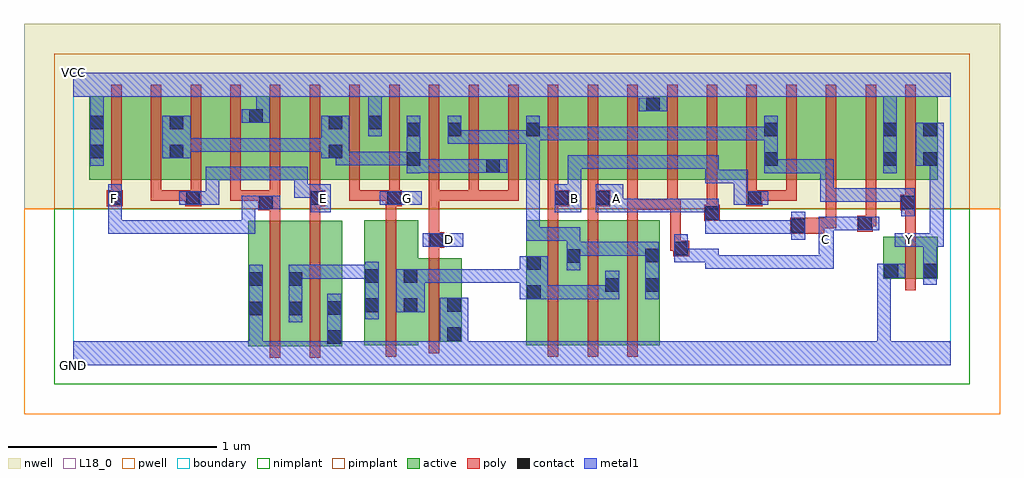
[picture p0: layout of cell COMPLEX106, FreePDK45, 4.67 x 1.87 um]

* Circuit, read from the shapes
.subckt COMPLEX106 A B C D E F G GND VCC Y
M1 n1 F GND VSUBS nfet w=0.6u l=0.05u
M2 GND E n1 VSUBS nfet w=0.6u l=0.05u
M3 n2 G n1 VSUBS nfet w=0.6u l=0.05u
M4 GND D n2 VSUBS nfet w=0.4u l=0.05u
M5 n3 B n2 VSUBS nfet w=0.6u l=0.05u
M6 n2 A n3 VSUBS nfet w=0.6u l=0.05u
M7 n3 C n2 VSUBS nfet w=0.6u l=0.05u
M8 Y n3 GND VSUBS nfet w=0.2u l=0.05u
M9 n4 F VCC n5 pfet w=0.4u l=0.05u
M10 n6 E n4 n5 pfet w=0.4u l=0.05u
M11 n7 E n6 n5 pfet w=0.4u l=0.05u
M12 VCC F n7 n5 pfet w=0.4u l=0.05u
M13 n8 F VCC n5 pfet w=0.4u l=0.05u
M14 n6 E n8 n5 pfet w=0.4u l=0.05u
M15 VCC G n6 n5 pfet w=0.4u l=0.05u m=2
M16 n3 D n6 n5 pfet w=0.4u l=0.05u m=3
M17 n9 B n3 n5 pfet w=0.4u l=0.05u
M18 n10 A n9 n5 pfet w=0.4u l=0.05u
M19 VCC C n10 n5 pfet w=0.4u l=0.05u
M20 n11 C VCC n5 pfet w=0.4u l=0.05u
M21 n12 A n11 n5 pfet w=0.4u l=0.05u
M22 n3 B n12 n5 pfet w=0.4u l=0.05u
M23 n13 B n3 n5 pfet w=0.4u l=0.05u
M24 n14 A n13 n5 pfet w=0.4u l=0.05u
M25 VCC C n14 n5 pfet w=0.4u l=0.05u
M26 Y n3 VCC n5 pfet w=0.4u l=0.05u
.ends

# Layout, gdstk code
import gdstk
lib = gdstk.Library(unit=1e-6, precision=1e-09)
def R(c, l, rs):  # rectangles x0, y0, x1, y1
    for r in rs: c.add(gdstk.rectangle(r[:2], r[2:], *l))
def A(c, l, x, y, w, h, nx, ny, dx, dy):  # array of equal rectangles
    R(c, l, [(x+i*dx, y+j*dy, x+i*dx+w, y+j*dy+h) for i in range(nx) for j in range(ny)])
active = (1, 0)
pwell = (2, 0)
nwell = (3, 0)
nimplant = (4, 0)
pimplant = (5, 0)
poly = (9, 0)
contact = (10, 0)
metal1 = (11, 0)
L18_0 = (18, 0)
boundary = (235, 0)

complex106 = lib.new_cell('COMPLEX106')
A(complex106, active, 0.077, 0.887, 0.225, 0.4, 3, 1, 0.38, 0)
A(complex106, active, 0.302, 0.887, 0.23, 0.4, 3, 1, 0.38, 0)
A(complex106, active, 2.392, 0.887, 0.19, 0.4, 3, 1, 0.57, 0)
R(complex106, active, [(0.837,0.092,0.912,0.692), (0.837,0.092,1.102,0.692), (1.027,0.092,1.287,0.692), (1.212,0.092,1.287,0.692), (1.027,0.095,1.102,0.692), (1.392,0.095,1.467,0.695), (1.392,0.095,1.652,0.695), (2.167,0.095,2.242,0.695), (2.167,0.095,2.432,0.695), (2.357,0.095,2.617,0.695), (2.357,0.095,2.432,0.692), (2.542,0.095,2.807,0.695), (2.542,0.095,2.617,0.577), (2.732,0.095,2.807,0.695), (1.577,0.112,1.86,0.512), (1.785,0.112,1.86,0.492), (1.577,0.2,1.652,0.512), (3.877,0.415,3.952,0.615), (3.877,0.415,4.137,0.615), (4.062,0.415,4.137,0.615), (0.077,0.887,0.152,1.287), (0.457,0.887,0.532,1.2), (1.217,0.887,1.292,1.2), (1.217,0.887,1.482,1.287), (1.407,0.887,1.667,1.287), (1.592,0.887,1.862,1.287), (1.787,0.887,1.862,1.2), (1.787,0.887,2.047,1.287), (1.972,0.887,2.237,1.287), (1.972,0.887,2.047,1.07), (2.162,0.887,2.237,1.2), (2.162,0.887,2.392,1.287), (2.582,0.887,2.812,1.287), (2.737,0.887,2.962,1.287), (2.737,0.887,2.812,1.287), (3.152,0.887,3.377,1.287), (3.302,0.887,3.377,1.2), (3.302,0.887,3.532,1.287), (3.722,0.887,3.947,1.287), (3.872,0.887,4.137,1.287), (4.062,0.887,4.137,1.2), (0.837,0.907,0.912,1.23), (1.407,0.907,1.482,1.267), (1.592,0.907,1.667,1.2), (3.872,0.907,3.947,1.205)])
R(complex106, pwell, [(-0.235,-0.235,4.435,0.75)])
R(complex106, nwell, [(-0.235,0.75,4.435,1.635)])
R(complex106, nimplant, [(-0.09,-0.09,4.29,0.75)])
R(complex106, pimplant, [(-0.09,0.75,4.29,1.49)])
A(complex106, poly, 2.272, 0.04, 0.05, 0.71, 3, 1, 0.19, 0)
A(complex106, poly, 0.182, 0.787, 0.05, 0.095, 13, 1, 0.19, 0)
A(complex106, poly, 0.182, 0.832, 0.05, 0.51, 21, 1, 0.19, 0)
R(complex106, poly, [(0.942,0.037,0.992,0.747), (1.132,0.037,1.182,0.747), (1.497,0.04,1.547,0.75), (1.702,0.057,1.752,0.567), (3.982,0.36,4.032,0.67), (1.702,0.517,1.752,0.612), (2.872,0.522,2.947,0.597), (2.857,0.547,2.907,0.597), (2.857,0.547,2.907,0.597), (2.857,0.547,2.922,0.597), (2.857,0.547,2.907,0.795), (2.872,0.547,2.922,0.597), (1.702,0.562,1.777,0.637), (1.702,0.587,1.752,0.837), (3.982,0.62,4.032,0.792), (3.432,0.63,3.595,0.705), (3.752,0.64,3.827,0.715), (3.545,0.655,3.595,0.705), (3.545,0.655,3.652,0.705), (3.602,0.655,3.652,0.882), (3.777,0.665,3.827,0.715), (3.777,0.665,3.842,0.715), (3.792,0.665,3.842,0.882), (3.02,0.692,3.095,0.767), (0.942,0.697,0.992,0.792), (1.132,0.697,1.182,0.812), (1.497,0.7,1.547,0.812), (2.272,0.7,2.322,0.812), (2.462,0.7,2.512,0.812), (2.652,0.7,2.702,0.795), (3.032,0.717,3.082,0.767), (3.032,0.717,3.082,0.767), (3.032,0.717,3.082,0.882), (0.885,0.742,0.992,0.817), (3.957,0.742,4.032,0.817), (3.982,0.742,4.032,0.792), (3.982,0.742,4.032,0.792), (2.652,0.745,2.702,0.795), (2.652,0.745,2.702,0.795), (2.652,0.745,2.702,0.795), (2.652,0.745,2.702,0.795), (2.652,0.745,2.702,0.795), (2.652,0.745,2.702,0.882), (2.652,0.745,2.892,0.795), (2.842,0.745,2.907,0.795), (2.842,0.745,2.892,0.882), (0.162,0.762,0.237,0.837), (0.537,0.762,0.612,0.837), (1.132,0.762,1.182,0.812), (1.132,0.762,1.182,0.812), (1.132,0.762,1.207,0.837), (1.497,0.762,1.547,0.812), (1.497,0.762,1.547,0.812), (1.497,0.762,1.572,0.837), (2.272,0.762,2.322,0.812), (2.272,0.762,2.322,0.812), (2.272,0.762,2.375,0.837), (2.462,0.762,2.57,0.837), (3.222,0.762,3.297,0.837), (0.942,0.767,0.992,0.837), (3.982,0.767,4.032,0.882), (0.182,0.787,0.232,0.837), (0.182,0.787,0.232,0.837), (0.372,0.787,0.422,0.837), (0.372,0.787,0.422,0.837), (0.372,0.787,0.422,0.837), (0.372,0.787,0.587,0.837), (0.752,0.787,0.802,0.837), (0.752,0.787,0.992,0.837), (0.942,0.787,0.992,0.837), (0.942,0.787,0.992,0.837), (0.942,0.787,0.992,0.837), (1.322,0.787,1.372,0.837), (1.322,0.787,1.547,0.837), (1.497,0.787,1.547,0.837), (1.497,0.787,1.547,0.837), (1.702,0.787,1.752,0.837), (1.702,0.787,1.942,0.837), (1.892,0.787,1.942,0.837), (1.892,0.787,1.942,0.837), (1.892,0.787,1.942,0.837), (1.892,0.787,2.132,0.837), (2.082,0.787,2.132,0.837), (2.082,0.787,2.132,0.837), (2.082,0.787,2.132,0.837), (2.462,0.787,2.512,0.837), (2.462,0.787,2.512,0.837), (3.222,0.787,3.272,0.882), (3.247,0.787,3.297,0.837), (3.247,0.787,3.297,0.837), (3.247,0.787,3.462,0.837), (3.412,0.787,3.462,0.837), (3.412,0.787,3.462,0.882)])
R(complex106, contact, [(1.217,0.102,1.282,0.167), (1.79,0.117,1.855,0.182), (0.842,0.24,0.907,0.305), (1.032,0.24,1.097,0.305), (1.217,0.242,1.282,0.307), (1.397,0.255,1.462,0.32), (1.582,0.255,1.647,0.32), (1.79,0.257,1.855,0.322), (2.172,0.317,2.237,0.382), (2.547,0.352,2.612,0.417), (2.737,0.352,2.802,0.417), (0.842,0.38,0.907,0.445), (1.032,0.38,1.097,0.445), (1.397,0.395,1.462,0.46), (1.582,0.395,1.647,0.46), (3.882,0.42,3.947,0.485), (4.067,0.42,4.132,0.485), (2.172,0.457,2.237,0.522), (2.362,0.49,2.427,0.555), (2.737,0.492,2.802,0.557), (2.877,0.527,2.942,0.592), (1.707,0.567,1.772,0.632), (3.437,0.635,3.502,0.7), (3.757,0.645,3.822,0.71), (3.025,0.697,3.09,0.762), (0.89,0.747,0.955,0.812), (3.962,0.747,4.027,0.812), (0.167,0.767,0.232,0.832), (0.542,0.767,0.607,0.832), (1.137,0.767,1.202,0.832), (1.502,0.767,1.567,0.832), (2.305,0.767,2.37,0.832), (2.5,0.767,2.565,0.832), (3.227,0.767,3.292,0.832), (1.977,0.922,2.042,0.987), (1.597,0.955,1.662,1.02), (3.307,0.955,3.372,1.02), (3.877,0.955,3.942,1.02), (4.067,0.955,4.132,1.02), (0.082,0.99,0.147,1.055), (0.462,0.99,0.527,1.055), (1.222,0.99,1.287,1.055), (1.597,1.095,1.662,1.16), (1.792,1.095,1.857,1.16), (2.167,1.095,2.232,1.16), (3.307,1.095,3.372,1.16), (3.877,1.095,3.942,1.16), (4.067,1.095,4.132,1.16), (0.082,1.13,0.147,1.195), (0.462,1.13,0.527,1.195), (1.222,1.13,1.287,1.195), (1.412,1.13,1.477,1.195), (0.842,1.16,0.907,1.225), (2.742,1.215,2.807,1.28)])
R(complex106, metal1, [(0,0,4.2,0.115), (0.842,0.05,0.907,0.27), (1.217,0.05,1.282,0.132), (1.825,0.05,1.89,0.182), (3.847,0.05,3.912,0.48), (1.217,0.067,1.282,0.342), (1.755,0.117,1.89,0.322), (0.842,0.205,0.907,0.48), (1.032,0.205,1.097,0.48), (1.397,0.22,1.462,0.495), (1.547,0.255,1.682,0.46), (2.137,0.317,2.272,0.522), (2.207,0.317,2.272,0.382), (2.207,0.317,2.272,0.382), (2.207,0.317,2.41,0.382), (2.345,0.317,2.41,0.382), (2.345,0.317,2.41,0.382), (2.345,0.317,2.41,0.382), (2.345,0.317,2.612,0.382), (2.547,0.317,2.612,0.382), (2.547,0.317,2.612,0.382), (2.547,0.317,2.612,0.452), (2.737,0.317,2.802,0.592), (4.067,0.385,4.132,0.52), (1.617,0.395,1.682,0.46), (1.617,0.395,1.682,0.46), (1.617,0.395,1.82,0.46), (1.755,0.395,1.82,0.46), (1.755,0.395,1.82,0.46), (1.755,0.395,1.82,0.46), (1.755,0.395,2.065,0.46), (2,0.395,2.065,0.46), (2,0.395,2.065,0.46), (2,0.395,2.065,0.46), (2,0.395,2.202,0.46), (1.032,0.415,1.097,0.48), (1.032,0.415,1.097,0.48), (1.032,0.415,1.325,0.48), (1.26,0.415,1.325,0.48), (1.26,0.415,1.325,0.48), (1.26,0.415,1.325,0.48), (1.26,0.415,1.462,0.48), (3.847,0.415,3.912,0.48), (3.847,0.415,3.912,0.48), (3.847,0.415,3.912,0.485), (3.847,0.42,3.912,0.485), (3.847,0.42,3.982,0.485), (2.362,0.455,2.427,0.59), (4.067,0.455,4.132,0.632), (3.025,0.462,3.227,0.527), (3.025,0.462,3.09,0.557), (3.162,0.462,3.227,0.527), (3.162,0.462,3.227,0.527), (3.162,0.462,3.227,0.527), (3.162,0.462,3.365,0.527), (3.3,0.462,3.365,0.527), (3.3,0.462,3.365,0.527), (3.3,0.462,3.365,0.527), (3.3,0.462,3.502,0.527), (3.437,0.462,3.502,0.527), (3.437,0.462,3.64,0.527), (3.575,0.462,3.64,0.527), (3.575,0.462,3.64,0.527), (3.575,0.462,3.64,0.527), (3.575,0.462,3.64,0.597), (2.877,0.492,2.942,0.627), (2.877,0.492,3.09,0.557), (3.025,0.492,3.09,0.557), (3.025,0.492,3.09,0.557), (3.025,0.492,3.09,0.557), (3.025,0.492,3.09,0.557), (2.362,0.525,2.427,0.66), (2.362,0.525,2.57,0.59), (2.505,0.525,2.57,0.59), (2.505,0.525,2.57,0.59), (2.505,0.525,2.57,0.59), (2.505,0.525,2.802,0.59), (2.737,0.525,2.802,0.59), (2.737,0.525,2.802,0.59), (3.567,0.532,3.64,0.71), (1.672,0.567,1.867,0.632), (3.932,0.567,4.165,0.632), (4.1,0.567,4.165,1.02), (2.167,0.595,2.232,0.66), (2.167,0.595,2.427,0.66), (2.167,0.595,2.232,1.125), (2.362,0.595,2.427,0.66), (2.362,0.595,2.427,0.66), (2.362,0.595,2.427,0.66), (3.437,0.6,3.502,0.735), (0.167,0.63,0.232,0.797), (0.167,0.63,0.425,0.695), (0.36,0.63,0.425,0.695), (0.36,0.63,0.562,0.695), (0.497,0.63,0.562,0.695), (0.497,0.63,0.562,0.695), (0.497,0.63,0.562,0.695), (0.497,0.63,0.7,0.695), (0.635,0.63,0.7,0.695), (0.635,0.63,0.782,0.695), (0.717,0.63,0.782,0.695), (0.717,0.63,0.872,0.695), (0.807,0.63,0.872,0.812), (3.025,0.63,3.227,0.695), (3.025,0.63,3.09,0.797), (3.162,0.63,3.227,0.695), (3.162,0.63,3.227,0.695), (3.162,0.63,3.227,0.695), (3.162,0.63,3.365,0.695), (3.3,0.63,3.365,0.695), (3.3,0.63,3.365,0.695), (3.3,0.63,3.365,0.695), (3.3,0.63,3.502,0.695), (3.437,0.63,3.502,0.695), (3.437,0.63,3.502,0.695), (3.575,0.645,3.787,0.71), (3.722,0.645,3.857,0.71), (3.962,0.712,4.027,0.847), (0.167,0.732,0.232,0.797), (0.167,0.732,0.232,0.867), (1.137,0.732,1.232,0.867), (2.305,0.732,2.432,0.867), (2.5,0.732,2.632,0.867), (2.567,0.732,2.632,0.797), (2.567,0.732,2.632,0.797), (2.567,0.732,2.805,0.797), (2.74,0.732,2.805,0.797), (2.74,0.732,2.805,0.797), (2.74,0.732,2.805,0.797), (2.74,0.732,2.942,0.797), (2.877,0.732,2.942,0.797), (2.877,0.732,2.942,0.797), (2.877,0.732,2.942,0.797), (2.877,0.732,3.09,0.797), (0.807,0.747,0.92,0.812), (0.855,0.747,0.99,0.812), (0.507,0.767,0.642,0.832), (0.577,0.767,0.7,0.832), (0.635,0.767,0.7,0.95), (1.467,0.767,1.667,0.832), (3.162,0.767,3.257,0.832), (3.162,0.767,3.227,0.935), (3.192,0.767,3.327,0.832), (3.575,0.782,3.64,0.847), (3.575,0.782,3.86,0.847), (3.575,0.782,3.64,0.985), (3.795,0.782,3.86,0.847), (3.795,0.782,3.86,0.847), (3.795,0.782,3.86,0.847), (3.795,0.782,4.027,0.847), (1.057,0.802,1.202,0.867), (1.057,0.802,1.122,0.95), (2.367,0.802,2.432,0.867), (2.367,0.802,2.432,1.005), (3.025,0.87,3.09,1.005), (3.025,0.87,3.227,0.935), (0.635,0.885,0.782,0.95), (0.717,0.885,0.782,0.95), (0.717,0.885,0.872,0.95), (0.807,0.885,0.872,0.95), (0.807,0.885,0.92,0.95), (0.855,0.885,0.92,0.95), (0.855,0.885,1.122,0.95), (1.597,0.92,1.662,1.195), (3.307,0.92,3.372,0.985), (3.307,0.92,3.372,0.985), (3.307,0.92,3.372,1.195), (3.307,0.92,3.502,0.985), (3.437,0.92,3.502,0.985), (3.437,0.92,3.64,0.985), (3.575,0.92,3.64,0.985), (3.575,0.92,3.64,0.985), (3.575,0.92,3.64,0.985), (3.877,0.92,3.942,1.195), (1.597,0.922,1.662,0.987), (1.597,0.922,1.662,0.987), (1.597,0.922,1.82,0.987), (1.755,0.922,1.82,0.987), (1.755,0.922,1.82,0.987), (1.755,0.922,1.82,0.987), (1.755,0.922,2.007,0.987), (1.942,0.922,2.077,0.987), (2.367,0.94,2.602,1.005), (2.537,0.94,2.602,1.005), (2.537,0.94,2.602,1.005), (2.537,0.94,2.602,1.005), (2.537,0.94,2.77,1.005), (2.705,0.94,2.77,1.005), (2.705,0.94,2.77,1.005), (2.705,0.94,2.77,1.005), (2.705,0.94,2.942,1.005), (2.877,0.94,2.942,1.005), (2.877,0.94,2.942,1.005), (2.877,0.94,2.942,1.005), (2.877,0.94,3.09,1.005), (0.082,0.955,0.147,1.23), (4.032,0.955,4.167,1.16), (4.1,0.955,4.165,1.02), (4.1,0.955,4.165,1.02), (1.257,0.957,1.475,1.022), (1.257,0.957,1.322,1.055), (1.41,0.957,1.475,1.022), (1.41,0.957,1.475,1.022), (1.41,0.957,1.475,1.022), (1.41,0.957,1.662,1.022), (0.427,0.99,0.562,1.195), (1.187,0.99,1.322,1.195), (1.257,0.99,1.322,1.055), (0.497,1.022,0.562,1.087), (0.497,1.022,0.562,1.087), (0.497,1.022,0.735,1.087), (0.67,1.022,0.735,1.087), (0.67,1.022,0.78,1.087), (0.715,1.022,0.78,1.087), (0.715,1.022,0.872,1.087), (0.807,1.022,0.872,1.087), (0.807,1.022,0.96,1.087), (0.895,1.022,0.96,1.087), (0.895,1.022,1.01,1.087), (0.945,1.022,1.01,1.087), (0.945,1.022,1.185,1.087), (1.12,1.022,1.185,1.087), (1.12,1.022,1.252,1.087), (1.792,1.06,1.857,1.125), (1.792,1.06,1.857,1.125), (1.792,1.06,1.857,1.195), (1.792,1.06,2.065,1.125), (2,1.06,2.065,1.125), (2,1.06,2.065,1.125), (2,1.06,2.065,1.125), (2,1.06,2.232,1.125), (2.167,1.06,2.232,1.125), (2.167,1.06,2.232,1.125), (2.167,1.06,2.232,1.195), (2.167,1.06,2.232,1.142), (2.167,1.077,2.232,1.142), (2.167,1.077,2.232,1.142), (2.167,1.077,2.232,1.142), (2.167,1.077,2.41,1.142), (2.345,1.077,2.41,1.142), (2.345,1.077,2.57,1.142), (2.505,1.077,2.57,1.142), (2.505,1.077,2.57,1.142), (2.505,1.077,2.57,1.142), (2.505,1.077,2.805,1.142), (2.74,1.077,2.805,1.142), (2.74,1.077,2.805,1.142), (2.74,1.077,2.805,1.142), (2.74,1.077,2.942,1.142), (2.877,1.077,2.942,1.142), (2.877,1.077,2.942,1.142), (2.877,1.077,2.942,1.142), (2.877,1.077,3.09,1.142), (3.025,1.077,3.09,1.142), (3.025,1.077,3.227,1.142), (3.162,1.077,3.227,1.142), (3.162,1.077,3.227,1.142), (3.162,1.077,3.227,1.142), (3.162,1.077,3.372,1.142), (1.412,1.095,1.477,1.23), (3.877,1.13,3.942,1.35), (0.807,1.16,0.942,1.225), (0.877,1.16,0.942,1.35), (0.082,1.165,0.147,1.35), (1.412,1.165,1.477,1.35), (2.707,1.215,2.842,1.28), (2.777,1.215,2.842,1.35), (0,1.285,4.2,1.4)])
R(complex106, L18_0, [(0,0,4.2,0.115), (0.842,0.05,0.907,0.27), (1.217,0.05,1.282,0.132), (1.825,0.05,1.89,0.182), (3.847,0.05,3.912,0.48), (1.217,0.067,1.282,0.342), (1.755,0.117,1.89,0.322), (0.842,0.205,0.907,0.48), (4.067,0.385,4.132,0.52), (3.847,0.415,3.912,0.48), (3.847,0.415,3.912,0.48), (3.847,0.415,3.912,0.485), (3.847,0.42,3.912,0.485), (3.847,0.42,3.982,0.485), (4.067,0.455,4.132,0.632), (3.025,0.462,3.227,0.527), (3.025,0.462,3.09,0.557), (3.162,0.462,3.227,0.527), (3.162,0.462,3.227,0.527), (3.162,0.462,3.227,0.527), (3.162,0.462,3.365,0.527), (3.3,0.462,3.365,0.527), (3.3,0.462,3.365,0.527), (3.3,0.462,3.365,0.527), (3.3,0.462,3.502,0.527), (3.437,0.462,3.502,0.527), (3.437,0.462,3.64,0.527), (3.575,0.462,3.64,0.597), (3.575,0.462,3.64,0.527), (3.575,0.462,3.64,0.527), (3.575,0.462,3.64,0.527), (2.877,0.492,2.942,0.627), (2.877,0.492,3.09,0.557), (3.025,0.492,3.09,0.557), (3.025,0.492,3.09,0.557), (3.025,0.492,3.09,0.557), (3.025,0.492,3.09,0.557), (3.567,0.532,3.64,0.71), (1.672,0.567,1.867,0.632), (1.767,0.567,1.832,0.632), (3.567,0.567,3.632,0.632), (3.932,0.567,4.165,0.632), (3.967,0.567,4.032,0.632), (4.1,0.567,4.165,1.02), (3.437,0.6,3.502,0.735), (0.167,0.63,0.232,0.797), (0.167,0.63,0.425,0.695), (0.36,0.63,0.425,0.695), (0.36,0.63,0.562,0.695), (0.497,0.63,0.562,0.695), (0.497,0.63,0.562,0.695), (0.497,0.63,0.562,0.695), (0.497,0.63,0.7,0.695), (0.635,0.63,0.7,0.695), (0.635,0.63,0.782,0.695), (0.717,0.63,0.782,0.695), (0.717,0.63,0.872,0.695), (0.807,0.63,0.872,0.812), (3.025,0.63,3.09,0.797), (3.025,0.63,3.227,0.695), (3.162,0.63,3.227,0.695), (3.162,0.63,3.227,0.695), (3.162,0.63,3.227,0.695), (3.162,0.63,3.365,0.695), (3.3,0.63,3.365,0.695), (3.3,0.63,3.365,0.695), (3.3,0.63,3.365,0.695), (3.3,0.63,3.502,0.695), (3.437,0.63,3.502,0.695), (3.437,0.63,3.502,0.695), (3.575,0.645,3.787,0.71), (3.722,0.645,3.857,0.71), (0.167,0.732,0.232,0.867), (0.167,0.732,0.232,0.797), (1.137,0.732,1.232,0.867), (2.305,0.732,2.432,0.867), (2.5,0.732,2.632,0.867), (2.567,0.732,2.632,0.797), (2.567,0.732,2.632,0.797), (2.567,0.732,2.805,0.797), (2.74,0.732,2.805,0.797), (2.74,0.732,2.805,0.797), (2.74,0.732,2.805,0.797), (2.74,0.732,2.942,0.797), (2.877,0.732,2.942,0.797), (2.877,0.732,2.942,0.797), (2.877,0.732,2.942,0.797), (2.877,0.732,3.09,0.797), (0.807,0.747,0.92,0.812), (0.855,0.747,0.99,0.812), (0.167,0.767,0.232,0.832), (0.507,0.767,0.642,0.832), (0.577,0.767,0.7,0.832), (0.635,0.767,0.7,0.95), (1.167,0.767,1.232,0.832), (1.467,0.767,1.667,0.832), (1.567,0.767,1.632,0.832), (2.367,0.767,2.432,0.832), (2.567,0.767,2.632,0.832), (3.162,0.767,3.227,0.935), (3.162,0.767,3.257,0.832), (3.192,0.767,3.327,0.832), (1.057,0.802,1.122,0.95), (1.057,0.802,1.202,0.867), (2.367,0.802,2.432,0.867), (2.367,0.802,2.432,1.005), (3.025,0.87,3.09,1.005), (3.025,0.87,3.227,0.935), (0.635,0.885,0.782,0.95), (0.717,0.885,0.782,0.95), (0.717,0.885,0.872,0.95), (0.807,0.885,0.872,0.95), (0.807,0.885,0.92,0.95), (0.855,0.885,0.92,0.95), (0.855,0.885,1.122,0.95), (3.877,0.92,3.942,1.195), (2.367,0.94,2.602,1.005), (2.537,0.94,2.602,1.005), (2.537,0.94,2.602,1.005), (2.537,0.94,2.602,1.005), (2.537,0.94,2.77,1.005), (2.705,0.94,2.77,1.005), (2.705,0.94,2.77,1.005), (2.705,0.94,2.77,1.005), (2.705,0.94,2.942,1.005), (2.877,0.94,2.942,1.005), (2.877,0.94,2.942,1.005), (2.877,0.94,2.942,1.005), (2.877,0.94,3.09,1.005), (0.082,0.955,0.147,1.23), (4.032,0.955,4.167,1.16), (4.1,0.955,4.165,1.02), (4.1,0.955,4.165,1.02), (1.412,1.095,1.477,1.23), (3.877,1.13,3.942,1.35), (0.807,1.16,0.942,1.225), (0.877,1.16,0.942,1.35), (0.082,1.165,0.147,1.35), (1.412,1.165,1.477,1.35), (2.707,1.215,2.842,1.28), (2.777,1.215,2.842,1.35), (0,1.285,4.2,1.4)])
R(complex106, boundary, [(0,0,4.2,1.4)])
complex106.add(gdstk.Label('A', (2.6,0.8), layer=11, texttype=0))
complex106.add(gdstk.Label('B', (2.4,0.8), layer=11, texttype=0))
complex106.add(gdstk.Label('C', (3.6,0.6), layer=11, texttype=0))
complex106.add(gdstk.Label('D', (1.8,0.6), layer=11, texttype=0))
complex106.add(gdstk.Label('E', (1.2,0.8), layer=11, texttype=0))
complex106.add(gdstk.Label('F', (0.2,0.8), layer=11, texttype=0))
complex106.add(gdstk.Label('G', (1.6,0.8), layer=11, texttype=0))
complex106.add(gdstk.Label('Y', (4,0.6), layer=11, texttype=0))
complex106.add(gdstk.Label('VCC', (0,1.4), layer=11, texttype=0))
complex106.add(gdstk.Label('GND', (0,0), layer=11, texttype=0))

lib.write_gds('COMPLEX106.gds')
